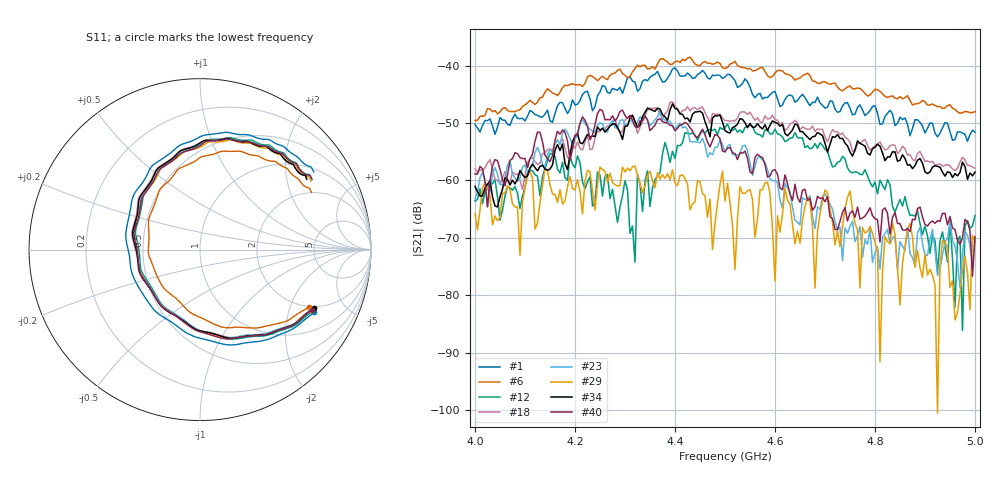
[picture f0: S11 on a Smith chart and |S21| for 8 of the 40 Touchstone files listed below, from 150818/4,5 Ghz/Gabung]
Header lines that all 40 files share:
# Hz S RI R 50
! CMT, C1220, 16058040, 17.2.0/1
! Data: Format (Calibration Info)
! Freq  S11: Re/Im (F2)  S21: Re/Im (F2)  S12: Re/Im (F2)  S22: Re/Im (F2)
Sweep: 4 GHz to 5 GHz
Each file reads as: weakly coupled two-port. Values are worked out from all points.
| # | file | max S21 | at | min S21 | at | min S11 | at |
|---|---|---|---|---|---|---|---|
| 1 | Sudut_0_Titik_1.s2p | -40.40 dB | 4.4 GHz | -53.2 dB | 4.985 GHz | -7.7 dB | 4.365 GHz |
| 2 | Sudut_0_Titik_2.s2p | -38.37 dB | 4.43 GHz | -49.5 dB | 4.005 GHz | -10.7 dB | 4.315 GHz |
| 3 | Sudut_0_Titik_3.s2p | -43.42 dB | 4.48 GHz | -54.5 dB | 5 GHz | -9.1 dB | 4.36 GHz |
| 4 | Sudut_0_Titik_7.s2p | -44.25 dB | 4.36 GHz | -57.4 dB | 4.045 GHz | -8.6 dB | 4.365 GHz |
| 5 | Sudut_10_Titik_1.s2p | -40.59 dB | 4.395 GHz | -53.4 dB | 4.955 GHz | -7.7 dB | 4.365 GHz |
| 6 | Sudut_10_Titik_2.s2p | -38.55 dB | 4.43 GHz | -49.6 dB | 4 GHz | -10.7 dB | 4.315 GHz |
| 7 | Sudut_10_Titik_3.s2p | -42.78 dB | 4.53 GHz | -53.8 dB | 4.015 GHz | -9.1 dB | 4.36 GHz |
| 8 | Sudut_10_Titik_6.s2p | -54.87 dB | 4.25 GHz | -73.6 dB | 4.84 GHz | -8.9 dB | 4.36 GHz |
| 9 | Sudut_10_Titik_9.s2p | -40.59 dB | 4.395 GHz | -53.4 dB | 4.955 GHz | -7.7 dB | 4.365 GHz |
| 10 | Sudut_20_Titik_1.s2p | -40.52 dB | 4.455 GHz | -53.0 dB | 4.955 GHz | -7.7 dB | 4.365 GHz |
| 11 | Sudut_20_Titik_5.s2p | -50.98 dB | 4.385 GHz | -76.9 dB | 4.03 GHz | -8.6 dB | 4.36 GHz |
| 12 | Sudut_30_Titik_4.s2p | -50.17 dB | 4.505 GHz | -86.2 dB | 4.975 GHz | -9.0 dB | 4.36 GHz |
| 13 | Sudut_40_Titik_1.s2p | -39.22 dB | 4.44 GHz | -52.0 dB | 5 GHz | -7.7 dB | 4.36 GHz |
| 14 | Sudut_40_Titik_2.s2p | -39.82 dB | 4.425 GHz | -50.3 dB | 4 GHz | -10.9 dB | 4.315 GHz |
| 15 | Sudut_40_Titik_4.s2p | -50.72 dB | 4.545 GHz | -92.9 dB | 4.975 GHz | -8.9 dB | 4.36 GHz |
| 16 | Sudut_50_Titik_1.s2p | -39.17 dB | 4.44 GHz | -51.6 dB | 5 GHz | -7.7 dB | 4.36 GHz |
| 17 | Sudut_50_Titik_3.s2p | -43.64 dB | 4.43 GHz | -56.6 dB | 4.03 GHz | -9.1 dB | 4.36 GHz |
| 18 | Sudut_50_Titik_7.s2p | -46.34 dB | 4.395 GHz | -61.6 dB | 4.095 GHz | -8.6 dB | 4.36 GHz |
| 19 | Sudut_60_Titik_1.s2p | -38.82 dB | 4.44 GHz | -50.7 dB | 5 GHz | -7.7 dB | 4.36 GHz |
| 20 | Sudut_60_Titik_4.s2p | -51.26 dB | 4.545 GHz | -79.9 dB | 4.97 GHz | -8.8 dB | 4.36 GHz |
| 21 | Sudut_60_Titik_6.s2p | -55.39 dB | 4.32 GHz | -86.3 dB | 4.99 GHz | -8.9 dB | 4.36 GHz |
| 22 | Sudut_70_Titik_3.s2p | -45.17 dB | 4.43 GHz | -60.8 dB | 4.07 GHz | -9.1 dB | 4.36 GHz |
| 23 | Sudut_70_Titik_5.s2p | -47.94 dB | 4.37 GHz | -78.7 dB | 4.97 GHz | -8.8 dB | 4.36 GHz |
| 24 | Sudut_80_Titik_4.s2p | -53.70 dB | 4.545 GHz | -83.0 dB | 5 GHz | -9.0 dB | 4.36 GHz |
| 25 | Sudut_80_Titik_6.s2p | -56.54 dB | 4.25 GHz | -88.6 dB | 4.97 GHz | -8.8 dB | 4.36 GHz |
| 26 | Sudut_80_Titik_7.s2p | -47.32 dB | 4.395 GHz | -62.8 dB | 4.04 GHz | -8.6 dB | 4.36 GHz |
| 27 | Sudut_80_Titik_8.s2p | -39.98 dB | 4.425 GHz | -52.8 dB | 4 GHz | -10.8 dB | 4.315 GHz |
| 28 | Sudut_90_Titik_2.s2p | -40.11 dB | 4.425 GHz | -53.1 dB | 4 GHz | -10.9 dB | 4.315 GHz |
| 29 | Sudut_90_Titik_6.s2p | -57.50 dB | 4.32 GHz | -100.5 dB | 4.925 GHz | -8.7 dB | 4.36 GHz |
| 30 | Sudut_100_Titik_1.s2p | -38.38 dB | 4.4 GHz | -50.9 dB | 5 GHz | -7.7 dB | 4.36 GHz |
| 31 | Sudut_100_Titik_2.s2p | -40.30 dB | 4.37 GHz | -52.7 dB | 4 GHz | -10.9 dB | 4.315 GHz |
| 32 | Sudut_100_Titik_3.s2p | -46.80 dB | 4.515 GHz | -59.4 dB | 4.97 GHz | -9.0 dB | 4.36 GHz |
| 33 | Sudut_100_Titik_6.s2p | -55.54 dB | 4.295 GHz | -106.8 dB | 4.85 GHz | -8.8 dB | 4.36 GHz |
| 34 | Sudut_100_Titik_7.s2p | -46.68 dB | 4.395 GHz | -64.6 dB | 4.045 GHz | -8.7 dB | 4.36 GHz |
| 35 | Sudut_110_Titik_1.s2p | -38.44 dB | 4.4 GHz | -51.0 dB | 5 GHz | -7.7 dB | 4.36 GHz |
| 36 | Sudut_110_Titik_2.s2p | -40.35 dB | 4.43 GHz | -52.0 dB | 4.005 GHz | -11.0 dB | 4.315 GHz |
| 37 | Sudut_110_Titik_4.s2p | -53.53 dB | 4.505 GHz | -84.9 dB | 4.325 GHz | -9.0 dB | 4.36 GHz |
| 38 | Sudut_110_Titik_5.s2p | -47.36 dB | 4.34 GHz | -81.3 dB | 4.995 GHz | -8.8 dB | 4.36 GHz |
| 39 | Sudut_110_Titik_6.s2p | -55.38 dB | 4.25 GHz | -81.8 dB | 4.85 GHz | -8.9 dB | 4.36 GHz |
| 40 | Sudut_120_Titik_5.s2p | -47.63 dB | 4.25 GHz | -76.7 dB | 4.995 GHz | -8.7 dB | 4.36 GHz |
